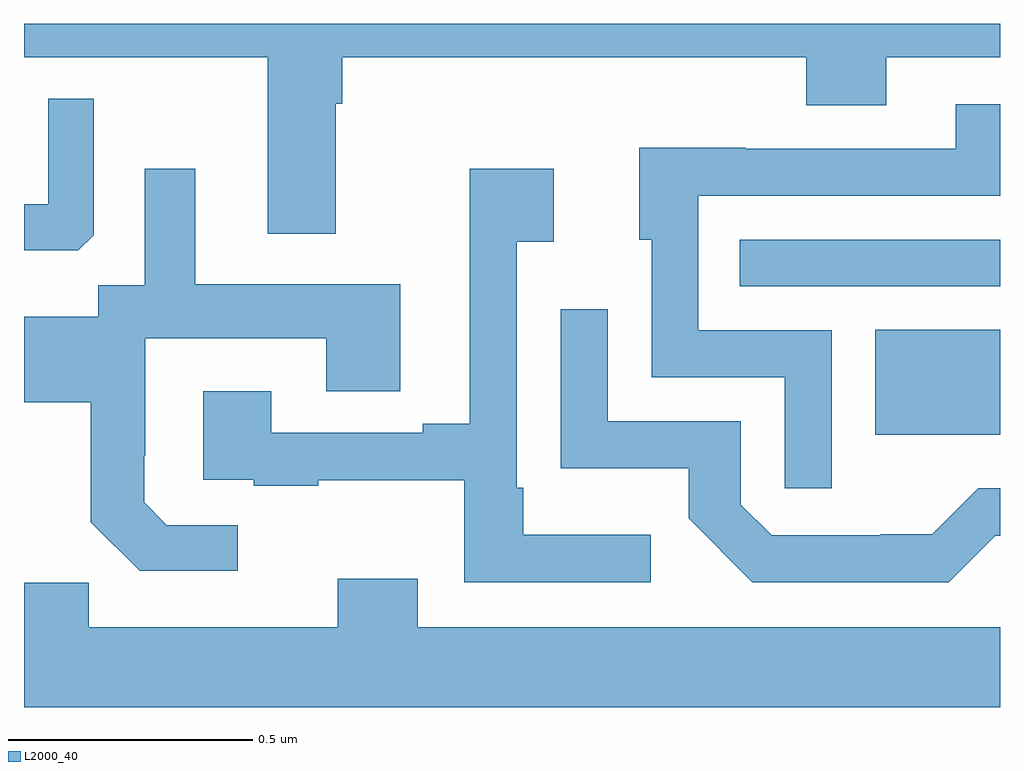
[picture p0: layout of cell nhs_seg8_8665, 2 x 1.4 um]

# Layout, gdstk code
import gdstk
lib = gdstk.Library(unit=1e-6, precision=1e-09)
def R(c, l, rs):  # rectangles x0, y0, x1, y1
    for r in rs: c.add(gdstk.rectangle(r[:2], r[2:], *l))
def P(c, l, *ps):  # polygons
    for p in ps: c.add(gdstk.Polygon(p, *l))
L2000_40 = (2000, 40)

nhs_seg8_8665 = lib.new_cell('nhs_seg8_8665')
R(nhs_seg8_8665, L2000_40, [(227.744,1117.058,228,1117.273), (227.467,1117.362,228,1117.458)])
P(nhs_seg8_8665, L2000_40, [(226.639,1117.736),(226.652,1117.736),(226.652,1117.832),(227.603,1117.832),(227.603,1117.733),(227.767,1117.733),(227.767,1117.832),(228,1117.832),(228,1117.9),(226,1117.9),(226,1117.832),(226.499,1117.832),(226.499,1117.47),(226.639,1117.47)],
  [(226.143,1117.467),(226.143,1117.747),(226.05,1117.747),(226.05,1117.53),(226,1117.53),(226,1117.436),(226.111,1117.436)],
  [(227.655,1117.272),(227.382,1117.272),(227.382,1117.548),(228,1117.548),(228,1117.735),(227.909,1117.735),(227.909,1117.644),(227.479,1117.644),(227.479,1117.646),(227.261,1117.646),(227.261,1117.458),(227.286,1117.458),(227.286,1117.176),(227.559,1117.176),(227.559,1116.948),(227.655,1116.948)],
  [(227.284,1116.853),(227.023,1116.853),(227.023,1116.949),(227.01,1116.949),(227.01,1117.454),(227.086,1117.454),(227.086,1117.603),(226.913,1117.603),(226.913,1117.081),(226.817,1117.081),(226.817,1117.062),(226.507,1117.062),(226.507,1117.147),(226.367,1117.147),(226.367,1116.966),(226.471,1116.966),(226.471,1116.954),(226.603,1116.954),(226.603,1116.965),(226.902,1116.965),(226.902,1116.756),(227.284,1116.756)],
  [(226.438,1116.873),(226.293,1116.873),(226.246,1116.92),(226.246,1117.015),(226.248,1117.015),(226.248,1117.256),(226.619,1117.256),(226.619,1117.147),(226.771,1117.147),(226.771,1117.366),(226.351,1117.366),(226.351,1117.603),(226.247,1117.603),(226.247,1117.364),(226.152,1117.364),(226.152,1117.3),(226,1117.3),(226,1117.125),(226.137,1117.125),(226.137,1116.879),(226.237,1116.779),(226.438,1116.779)],
  [(227.99,1116.851),(228,1116.851),(228,1116.948),(227.955,1116.948),(227.861,1116.854),(227.756,1116.854),(227.756,1116.852),(227.532,1116.852),(227.469,1116.915),(227.469,1117.086),(227.196,1117.086),(227.196,1117.315),(227.1,1117.315),(227.1,1116.989),(227.362,1116.989),(227.362,1116.887),(227.492,1116.756),(227.895,1116.756)],
  [(228,1116.664),(226.807,1116.664),(226.807,1116.763),(226.643,1116.763),(226.643,1116.664),(226.133,1116.664),(226.133,1116.755),(226,1116.755),(226,1116.5),(228,1116.5)])

lib.write_gds('nhs_seg8_8665.gds')
